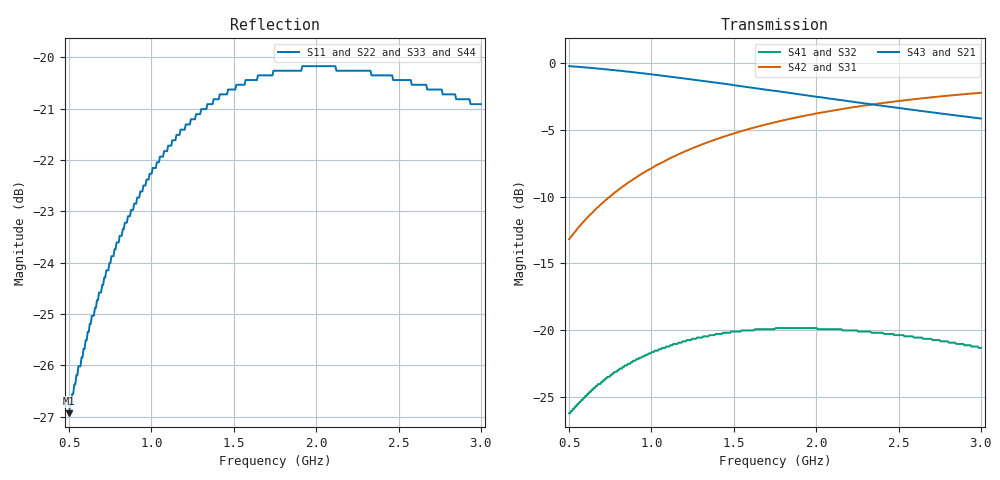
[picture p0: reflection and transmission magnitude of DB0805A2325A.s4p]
!	AVX THIN FILM OPERATION
!	0805 SIZE 3dB 90deg COUPLER P/N DB0805A2325AWTR
!	Created March 23 2003
!	Network Analyzer HP8720E S.07.64: Feb23, 2000 Serial No.US39172382
#	MHZ	S	MA	R	50
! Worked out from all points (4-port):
!   400 points, 500 MHz to 3 GHz, reference 50 ohm
!   strongest paths, dB at 500 MHz, 1.127 GHz, 1.753 GHz, 2.38 GHz, 3 GHz:
!     S43: -0.3, -1.1, -2.1, -3.2, -4.2
!     S21: -0.3, -1.1, -2.1, -3.2, -4.2
!     S42: -13.2, -7.1, -4.4, -3.0, -2.2
!     S31: -13.2, -7.1, -4.4, -3.0, -2.2
!     S41: -26.2, -21.1, -19.8, -20.2, -21.3
!     S32: -26.2, -21.1, -19.8, -20.2, -21.3
!   lowest |S11| = -26.9 dB at 500 MHz (marker M1), VSWR 1.09, Z = 48 - j3.92 ohm
!   |S11| at or under -10 dB: start of sweep to end of sweep
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500  0.045 -115.1  0.971 -13.7  0.219 75.6  0.049 64.1
     0.971 -13.7  0.045 -115.1  0.049 64.1  0.219 75.6
     0.219 75.6  0.049 64.1  0.045 -115.1  0.971 -13.7
     0.049 64.1  0.219 75.6  0.971 -13.7  0.045 -115.1
637.845  0.056 -122.8  0.956 -17.3  0.274 71.9  0.06 57.4
         0.956 -17.3  0.056 -122.8  0.06 57.4  0.274 71.9
         0.274 71.9  0.06 57.4  0.056 -122.8  0.956 -17.3
         0.06 57.4  0.274 71.9  0.956 -17.3  0.056 -122.8
838.346  0.069 -133.2  0.929 -22.3  0.349 66.8  0.074 48.1
         0.929 -22.3  0.069 -133.2  0.074 48.1  0.349 66.8
         0.349 66.8  0.074 48.1  0.069 -133.2  0.929 -22.3
         0.074 48.1  0.349 66.8  0.929 -22.3  0.069 -133.2
1132.832  0.083 -147.1  0.884 -28.9  0.446 59.9  0.089 35.7
          0.884 -28.9  0.083 -147.1  0.089 35.7  0.446 59.9
          0.446 59.9  0.089 35.7  0.083 -147.1  0.884 -28.9
          0.089 35.7  0.446 59.9  0.884 -28.9  0.083 -147.1
1433.584  0.092 -159.7  0.836 -35.0  0.528 53.8  0.098 24.5
          0.836 -35.0  0.092 -159.7  0.098 24.5  0.528 53.8
          0.528 53.8  0.098 24.5  0.092 -159.7  0.836 -35.0
          0.098 24.5  0.528 53.8  0.836 -35.0  0.092 -159.7
2154.135  0.097 175.2  0.725 -47.0  0.671 41.8  0.101 3.6
          0.725 -47.0  0.097 175.2  0.101 3.6  0.671 41.8
          0.671 41.8  0.101 3.6  0.097 175.2  0.725 -47.0
          0.101 3.6  0.671 41.8  0.725 -47.0  0.097 175.2
3000  0.09 152.5  0.619 -57.5  0.772 31.6  0.086 -11.7
      0.619 -57.5  0.09 152.5  0.086 -11.7  0.772 31.6
      0.772 31.6  0.086 -11.7  0.09 152.5  0.619 -57.5
      0.086 -11.7  0.772 31.6  0.619 -57.5  0.09 152.5
